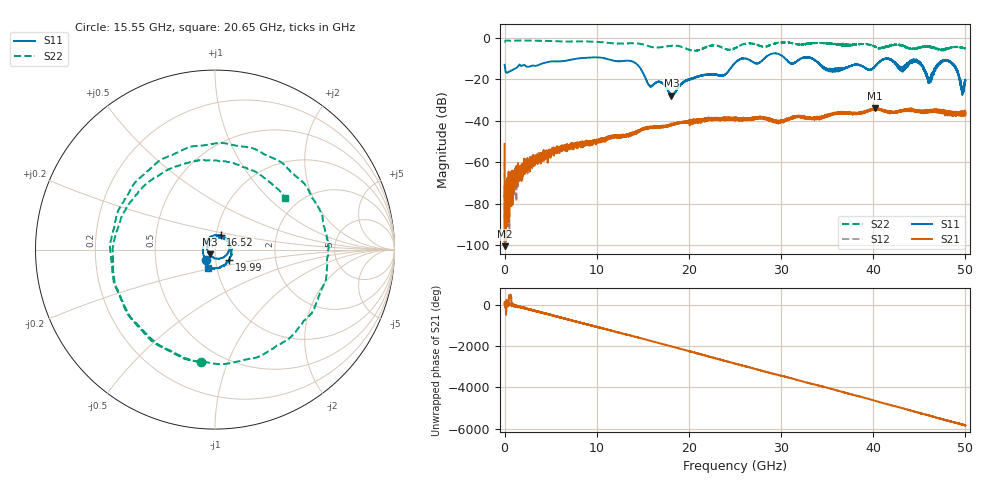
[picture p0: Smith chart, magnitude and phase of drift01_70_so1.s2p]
!Created with skrf (http://scikit-rf.org).
# Hz S RI R 50.0
!freq ReS11 ImS11 ReS21 ImS21 ReS12 ImS12 ReS22 ImS22
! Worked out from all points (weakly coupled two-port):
!   10001 points, 300 kHz to 50 GHz, reference 50 ohm
!   highest |S21| = -33.89 dB at 40.21 GHz (marker M1); lowest = -100.6 dB at 15.3 MHz (marker M2)
!   lowest |S11| = -27.9 dB at 18.11 GHz (marker M3), VSWR 1.08, Z = 47 - j2.49 ohm
!   |S11| at or under -10 dB: 10.91 GHz to 25.87 GHz (14.96 GHz wide, 81.3 % of centre); 33.35 GHz to 41.68 GHz (8.334 GHz wide, 22.2 % of centre); 41.69 GHz to end of sweep (the widest 3 of 16)
!   |S22| runs from -6.3 to -1.4 dB; largest |S21 - S12| = 0.0035
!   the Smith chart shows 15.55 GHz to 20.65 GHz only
!   S11 on the Smith chart (normalised r, x): 15.55 GHz: 0.90, -0.11; 16.52 GHz: 1.05, +0.17; 19.99 GHz: 1.17, -0.13; 20.65 GHz: 0.90, -0.18
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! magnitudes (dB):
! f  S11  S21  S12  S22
! 300 kHz  -13.1  -51.3  -60.0  -2.1
! 15.3 MHz  -13.5  -100.6  -75.5  -2.0
! 255.3 MHz  -16.9  -77.6  -77.4  -1.4
! 2.93 GHz  -13.6  -58.4  -60.8  -1.4
! 8.335 GHz  -9.9  -51.5  -51.5  -1.8
! 13.88 GHz  -11.5  -46.3  -46.3  -2.7
! 15.55 GHz  -22.0  -43.5  -43.4  -4.0
! 16.52 GHz  -21.4  -43.2  -43.3  -4.8
! 16.67 GHz  -21.2  -43.1  -43.0  -4.8
! 18.11 GHz  -27.9  -41.7  -42.0  -4.0
! 19.99 GHz  -20.2  -40.6  -40.6  -5.8
! 20.65 GHz  -19.3  -39.8  -40.2  -6.3
! 25 GHz  -12.2  -39.3  -39.2  -5.0
! 33.34 GHz  -10.1  -39.3  -38.8  -2.6
! 35.33 GHz  -15.6  -37.4  -37.4  -2.7
! 40.21 GHz  -13.8  -33.9  -34.3  -4.4
! 41.67 GHz  -10.1  -35.5  -36.2  -3.9
! 43.07 GHz  -16.1  -35.1  -35.3  -3.9
! 44.8 GHz  -11.5  -35.4  -35.5  -5.1
! 46.11 GHz  -20.4  -35.4  -35.9  -4.6
! 48.04 GHz  -11.2  -35.9  -36.2  -5.2
! 50 GHz  -20.6  -35.8  -36.3  -5.3
